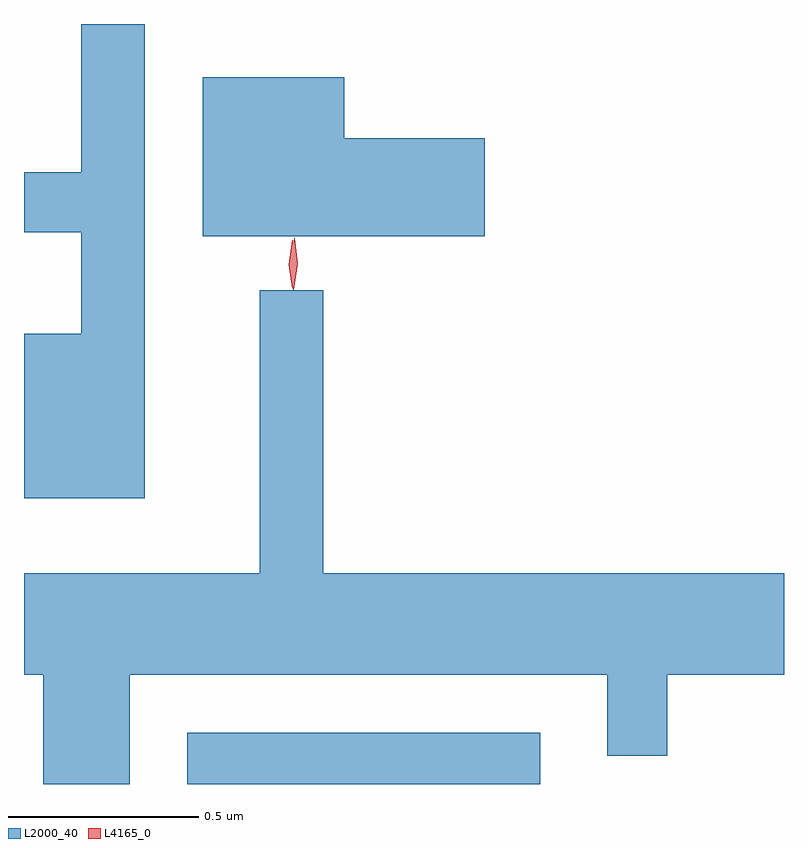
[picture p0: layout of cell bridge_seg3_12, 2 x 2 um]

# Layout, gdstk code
import gdstk
lib = gdstk.Library(unit=1e-6, precision=1e-09)
def R(c, l, rs):  # rectangles x0, y0, x1, y1
    for r in rs: c.add(gdstk.rectangle(r[:2], r[2:], *l))
def P(c, l, *ps):  # polygons
    for p in ps: c.add(gdstk.Polygon(p, *l))
L2000_40 = (2000, 40)
L4165_0 = (4165, 0)

bridge_seg3_12 = lib.new_cell('bridge_seg3_12')
R(bridge_seg3_12, L2000_40, [(1528.211,1212.309,1529.139,1212.444)])
P(bridge_seg3_12, L2000_40, [(1528.099,1214.309),(1527.931,1214.309),(1527.931,1213.919),(1527.781,1213.919),(1527.781,1213.761),(1527.931,1213.761),(1527.931,1213.494),(1527.781,1213.494),(1527.781,1213.061),(1528.099,1213.061)],
  [(1528.994,1214.009),(1528.624,1214.009),(1528.624,1214.169),(1528.251,1214.169),(1528.251,1213.751),(1528.994,1213.751)],
  [(1528.059,1212.596),(1529.316,1212.596),(1529.316,1212.383),(1529.474,1212.383),(1529.474,1212.596),(1529.781,1212.596),(1529.781,1212.864),(1528.569,1212.864),(1528.569,1213.608),(1528.401,1213.608),(1528.401,1212.864),(1527.781,1212.864),(1527.781,1212.596),(1527.831,1212.596),(1527.831,1212.309),(1528.059,1212.309)])
P(bridge_seg3_12, L4165_0, [(1528.49,1213.61),(1528.482,1213.678),(1528.492,1213.745),(1528.492,1213.746),(1528.493,1213.745),(1528.502,1213.678),(1528.491,1213.61),(1528.491,1213.61)],
  [(1528.487,1213.613),(1528.478,1213.676),(1528.487,1213.74),(1528.488,1213.74),(1528.488,1213.74),(1528.498,1213.676),(1528.488,1213.613),(1528.488,1213.613)])

lib.write_gds('bridge_seg3_12.gds')
